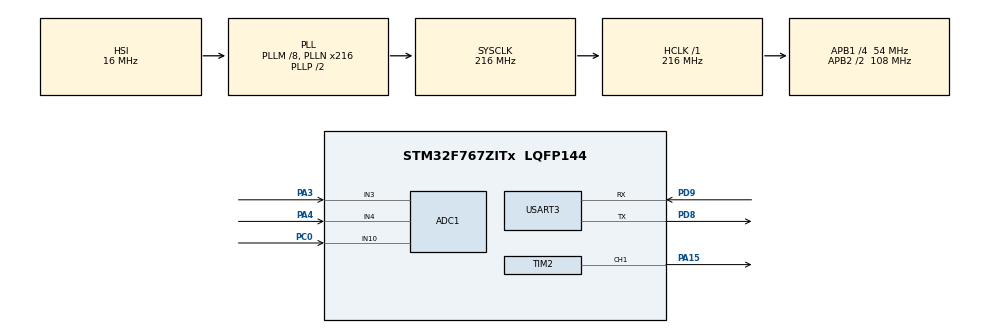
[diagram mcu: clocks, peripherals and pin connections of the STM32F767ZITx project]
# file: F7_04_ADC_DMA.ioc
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ADC1.Channel-0\#ChannelRegularConversion=ADC_CHANNEL_4
ADC1.Channel-1\#ChannelRegularConversion=ADC_CHANNEL_3
ADC1.ContinuousConvMode=DISABLE
ADC1.DMAContinuousRequests=ENABLE
ADC1.NbrOfConversion=2
ADC1.NbrOfConversionFlag=1
ADC1.Rank-0\#ChannelRegularConversion=1
ADC1.Rank-1\#ChannelRegularConversion=2
ADC1.SamplingTime-0\#ChannelRegularConversion=ADC_SAMPLETIME_56CYCLES
ADC1.SamplingTime-1\#ChannelRegularConversion=ADC_SAMPLETIME_56CYCLES
ADC1.master=1
Dma.ADC1.0.Direction=DMA_PERIPH_TO_MEMORY
Dma.ADC1.0.FIFOMode=DMA_FIFOMODE_DISABLE
Dma.ADC1.0.Instance=DMA2_Stream0
Dma.ADC1.0.MemDataAlignment=DMA_MDATAALIGN_HALFWORD
Dma.ADC1.0.MemInc=DMA_MINC_ENABLE
Dma.ADC1.0.Mode=DMA_CIRCULAR
Dma.ADC1.0.PeriphDataAlignment=DMA_PDATAALIGN_HALFWORD
Dma.ADC1.0.PeriphInc=DMA_PINC_DISABLE
Dma.ADC1.0.Priority=DMA_PRIORITY_LOW
Dma.Request0=ADC1
Mcu.Family=STM32F7
Mcu.Name=STM32F767ZITx
Mcu.Package=LQFP144
NVIC.DMA2_Stream0_IRQn=true\:0\:0\:false\:false\:true\:false\:true
NVIC.PriorityGroup=NVIC_PRIORITYGROUP_4
PA13.Mode=Serial_Wire
PA13.Signal=SYS_JTMS-SWDIO
PA14.Mode=Serial_Wire
PA14.Signal=SYS_JTCK-SWCLK
PA15.Signal=S_TIM2_CH1_ETR
PA3.Signal=ADCx_IN3
PA4.Signal=ADCx_IN4
PC0.Signal=ADCx_IN10
PD8.Mode=Asynchronous
PD8.Signal=USART3_TX
PD9.Mode=Asynchronous
PD9.Signal=USART3_RX
PH0/OSC_IN.Mode=HSE-External-Oscillator
PH0/OSC_IN.Signal=RCC_OSC_IN
PH1/OSC_OUT.Mode=HSE-External-Oscillator
PH1/OSC_OUT.Signal=RCC_OSC_OUT
ProjectManager.HeapSize=0x200
ProjectManager.StackSize=0x400
ProjectManager.TargetToolchain=STM32CubeIDE
RCC.AHBFreq_Value=216000000
RCC.APB1CLKDivider=RCC_HCLK_DIV4
RCC.APB1Freq_Value=54000000
RCC.APB1TimFreq_Value=108000000
RCC.APB2CLKDivider=RCC_HCLK_DIV2
RCC.APB2Freq_Value=108000000
RCC.APB2TimFreq_Value=216000000
RCC.CortexFreq_Value=216000000
RCC.HCLKFreq_Value=216000000
RCC.HSE_VALUE=25000000
RCC.HSI_VALUE=16000000
RCC.LSE_VALUE=32768
RCC.PLLM=8
RCC.PLLN=216
RCC.SYSCLKFreq_VALUE=216000000
RCC.SYSCLKSource=RCC_SYSCLKSOURCE_PLLCLK
RCC.USBFreq_Value=216000000
RCC.VCOOutputFreq_Value=432000000
SH.ADCx_IN10.0=ADC1_IN10,IN10
SH.ADCx_IN3.0=ADC1_IN3,IN3
SH.ADCx_IN4.0=ADC1_IN4,IN4
SH.S_TIM2_CH1_ETR.0=TIM2_CH1,PWM Generation1 CH1
TIM2.AutoReloadPreload=TIM_AUTORELOAD_PRELOAD_ENABLE
TIM2.Channel-PWM\ Generation1\ CH1=TIM_CHANNEL_1
TIM2.Period=100-1
TIM2.Prescaler=54-1
USART3.VirtualMode-Asynchronous=VM_ASYNC
VP_TIM2_VS_ClockSourceINT.Mode=Internal
board=custom

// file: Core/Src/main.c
/* USER CODE BEGIN Header */
/**
  ******************************************************************************
  * @file           : main.c
  * @brief          : Main program body
  ******************************************************************************
  * @attention
  *
  * Copyright (c) 2022 STMicroelectronics.
  * All rights reserved.
  *
  * This software is licensed under terms that can be found in the LICENSE file
  * in the root directory of this software component.
  * If no LICENSE file comes with this software, it is provided AS-IS.
  *
  ******************************************************************************
  */
/* USER CODE END Header */
#include "main.h"

/* USER CODE BEGIN Includes */
#include <string.h>
#include <stdio.h>
/* Private typedef -----------------------------------------------------------*/
/* USER CODE BEGIN PTD */

/* USER CODE END PTD */

/* Private define ------------------------------------------------------------*/
/* USER CODE BEGIN PD */
#define BUFF_SIZE 100
/* USER CODE END PD */

/* Private macro -------------------------------------------------------------*/
/* USER CODE BEGIN PM */

/* USER CODE END PM */

/* Private variables ---------------------------------------------------------*/
ADC_HandleTypeDef hadc1;
DMA_HandleTypeDef hdma_adc1;

TIM_HandleTypeDef htim2;

UART_HandleTypeDef huart3;

/* USER CODE BEGIN PV */
uint8_t convEnd = 0;

uint16_t adcBuff[BUFF_SIZE];
uint16_t adcData[BUFF_SIZE];
/* USER CODE END Includes */
/* USER CODE END PV */

void SystemClock_Config(void);
static void MX_GPIO_Init(void);
static void MX_ADC1_Init(void);
static void MX_DMA_Init(void);
static void MX_TIM2_Init(void);
static void MX_USART3_UART_Init(void);

/* USER CODE BEGIN 0 */
void HAL_ADC_ConvCpltCallback(ADC_HandleTypeDef* hadc)
{
	if(hadc == &hadc1)								//check which adc made interrupt
	{
		for(int i = 0; i < BUFF_SIZE; i++)
		{
			adcData[i] = adcBuff[i];				//copy data to second buffer
		}
		convEnd = 1;								//set conv end flag
	}
}
/* USER CODE END 0 */

int main(void)
{

  /* MCU Configuration--------------------------------------------------------*/

  /* Reset of all peripherals, Initializes the Flash interface and the Systick. */
  HAL_Init();

  /* Configure the system clock */
  SystemClock_Config();

  /* Initialize all configured peripherals */
  MX_GPIO_Init();
  MX_ADC1_Init();
  MX_DMA_Init();
  MX_TIM2_Init();
  MX_USART3_UART_Init();
  /* USER CODE BEGIN 2 */
  HAL_TIM_PWM_Start(&htim2, TIM_CHANNEL_1);

  /* USER CODE END 2 */

  /* Infinite loop */
  while (1)
  {

    /* USER CODE BEGIN 3 */
	  HAL_ADC_Start_DMA(&hadc1, (uint32_t *)adcBuff, 1);
	if(convEnd == 1){
	  char txt[30];
	  sprintf(txt, "ADC Val: %d %d\n\r", adcData[0], adcData[1]);			//print value in a text
	  HAL_UART_Transmit(&huart3, (uint8_t *)txt, strlen(txt), 100);		//send text over UART
	  HAL_Delay(500);									//wait 100ms
	  convEnd = 0;
	}
    //TIM2->CCR1 = 2;
  	}
  /* USER CODE END 3 */
}

void SystemClock_Config(void)
{
  RCC_OscInitTypeDef RCC_OscInitStruct = {0};
  RCC_ClkInitTypeDef RCC_ClkInitStruct = {0};

  /** Configure the main internal regulator output voltage
  */
  __HAL_RCC_PWR_CLK_ENABLE();
  __HAL_PWR_VOLTAGESCALING_CONFIG(PWR_REGULATOR_VOLTAGE_SCALE1);
  /** Initializes the RCC Oscillators according to the specified parameters
  * in the RCC_OscInitTypeDef structure.
  */
  RCC_OscInitStruct.OscillatorType = RCC_OSCILLATORTYPE_HSI;
  RCC_OscInitStruct.HSIState = RCC_HSI_ON;
  RCC_OscInitStruct.HSICalibrationValue = RCC_HSICALIBRATION_DEFAULT;
  RCC_OscInitStruct.PLL.PLLState = RCC_PLL_ON;
  RCC_OscInitStruct.PLL.PLLSource = RCC_PLLSOURCE_HSI;
  RCC_OscInitStruct.PLL.PLLM = 8;
  RCC_OscInitStruct.PLL.PLLN = 216;
  RCC_OscInitStruct.PLL.PLLP = RCC_PLLP_DIV2;
  RCC_OscInitStruct.PLL.PLLQ = 2;
  RCC_OscInitStruct.PLL.PLLR = 2;
  if (HAL_RCC_OscConfig(&RCC_OscInitStruct) != HAL_OK)
  {
    Error_Handler();
  }
  /** Activate the Over-Drive mode
  */
  if (HAL_PWREx_EnableOverDrive() != HAL_OK)
  {
    Error_Handler();
  }
  /** Initializes the CPU, AHB and APB buses clocks
  */
  RCC_ClkInitStruct.ClockType = RCC_CLOCKTYPE_HCLK|RCC_CLOCKTYPE_SYSCLK
                              |RCC_CLOCKTYPE_PCLK1|RCC_CLOCKTYPE_PCLK2;
  RCC_ClkInitStruct.SYSCLKSource = RCC_SYSCLKSOURCE_PLLCLK;
  RCC_ClkInitStruct.AHBCLKDivider = RCC_SYSCLK_DIV1;
  RCC_ClkInitStruct.APB1CLKDivider = RCC_HCLK_DIV4;
  RCC_ClkInitStruct.APB2CLKDivider = RCC_HCLK_DIV2;

  if (HAL_RCC_ClockConfig(&RCC_ClkInitStruct, FLASH_LATENCY_7) != HAL_OK)
  {
    Error_Handler();
  }
}

static void MX_ADC1_Init(void)
{

  ADC_ChannelConfTypeDef sConfig = {0};

  /** Configure the global features of the ADC (Clock, Resolution, Data Alignment and number of conversion)
  */
  hadc1.Instance = ADC1;
  hadc1.Init.ClockPrescaler = ADC_CLOCK_SYNC_PCLK_DIV4;
  hadc1.Init.Resolution = ADC_RESOLUTION_12B;
  hadc1.Init.ScanConvMode = ADC_SCAN_ENABLE;
  hadc1.Init.ContinuousConvMode = DISABLE;
  hadc1.Init.DiscontinuousConvMode = DISABLE;
  hadc1.Init.ExternalTrigConvEdge = ADC_EXTERNALTRIGCONVEDGE_NONE;
  hadc1.Init.ExternalTrigConv = ADC_SOFTWARE_START;
  hadc1.Init.DataAlign = ADC_DATAALIGN_RIGHT;
  hadc1.Init.NbrOfConversion = 2;
  hadc1.Init.DMAContinuousRequests = ENABLE;
  hadc1.Init.EOCSelection = ADC_EOC_SINGLE_CONV;
  if (HAL_ADC_Init(&hadc1) != HAL_OK)
  {
    Error_Handler();
  }
  /** Configure for the selected ADC regular channel its corresponding rank in the sequencer and its sample time.
  */
  sConfig.Channel = ADC_CHANNEL_4;
  sConfig.Rank = ADC_REGULAR_RANK_1;
  sConfig.SamplingTime = ADC_SAMPLETIME_56CYCLES;
  if (HAL_ADC_ConfigChannel(&hadc1, &sConfig) != HAL_OK)
  {
    Error_Handler();
  }
  /** Configure for the selected ADC regular channel its corresponding rank in the sequencer and its sample time.
  */
  sConfig.Channel = ADC_CHANNEL_3;
  sConfig.Rank = ADC_REGULAR_RANK_2;
  if (HAL_ADC_ConfigChannel(&hadc1, &sConfig) != HAL_OK)
  {
    Error_Handler();
  }

}

static void MX_TIM2_Init(void)
{

  TIM_ClockConfigTypeDef sClockSourceConfig = {0};
  TIM_MasterConfigTypeDef sMasterConfig = {0};
  TIM_OC_InitTypeDef sConfigOC = {0};

  htim2.Instance = TIM2;
  htim2.Init.Prescaler = 54-1;
  htim2.Init.CounterMode = TIM_COUNTERMODE_UP;
  htim2.Init.Period = 100-1;
  htim2.Init.ClockDivision = TIM_CLOCKDIVISION_DIV1;
  htim2.Init.AutoReloadPreload = TIM_AUTORELOAD_PRELOAD_ENABLE;
  if (HAL_TIM_Base_Init(&htim2) != HAL_OK)
  {
    Error_Handler();
  }
  sClockSourceConfig.ClockSource = TIM_CLOCKSOURCE_INTERNAL;
  if (HAL_TIM_ConfigClockSource(&htim2, &sClockSourceConfig) != HAL_OK)
  {
    Error_Handler();
  }
  if (HAL_TIM_PWM_Init(&htim2) != HAL_OK)
  {
    Error_Handler();
  }
  sMasterConfig.MasterOutputTrigger = TIM_TRGO_RESET;
  sMasterConfig.MasterSlaveMode = TIM_MASTERSLAVEMODE_DISABLE;
  if (HAL_TIMEx_MasterConfigSynchronization(&htim2, &sMasterConfig) != HAL_OK)
  {
    Error_Handler();
  }
  sConfigOC.OCMode = TIM_OCMODE_PWM1;
  sConfigOC.Pulse = 0;
  sConfigOC.OCPolarity = TIM_OCPOLARITY_HIGH;
  sConfigOC.OCFastMode = TIM_OCFAST_DISABLE;
  if (HAL_TIM_PWM_ConfigChannel(&htim2, &sConfigOC, TIM_CHANNEL_1) != HAL_OK)
  {
    Error_Handler();
  }
  HAL_TIM_MspPostInit(&htim2);

}

static void MX_USART3_UART_Init(void)
{

  huart3.Instance = USART3;
  huart3.Init.BaudRate = 115200;
  huart3.Init.WordLength = UART_WORDLENGTH_8B;
  huart3.Init.StopBits = UART_STOPBITS_1;
  huart3.Init.Parity = UART_PARITY_NONE;
  huart3.Init.Mode = UART_MODE_TX_RX;
  huart3.Init.HwFlowCtl = UART_HWCONTROL_NONE;
  huart3.Init.OverSampling = UART_OVERSAMPLING_16;
  huart3.Init.OneBitSampling = UART_ONE_BIT_SAMPLE_DISABLE;
  huart3.AdvancedInit.AdvFeatureInit = UART_ADVFEATURE_NO_INIT;
  if (HAL_UART_Init(&huart3) != HAL_OK)
  {
    Error_Handler();
  }

}

static void MX_DMA_Init(void)
{

  /* DMA controller clock enable */
  __HAL_RCC_DMA2_CLK_ENABLE();

  /* DMA interrupt init */
  /* DMA2_Stream0_IRQn interrupt configuration */
  HAL_NVIC_SetPriority(DMA2_Stream0_IRQn, 0, 0);
  HAL_NVIC_EnableIRQ(DMA2_Stream0_IRQn);

}

static void MX_GPIO_Init(void)
{

  /* GPIO Ports Clock Enable */
  __HAL_RCC_GPIOH_CLK_ENABLE();
  __HAL_RCC_GPIOC_CLK_ENABLE();
  __HAL_RCC_GPIOA_CLK_ENABLE();
  __HAL_RCC_GPIOD_CLK_ENABLE();

}

void Error_Handler(void)
{
  __disable_irq();
  while (1)
  {
  }
}
